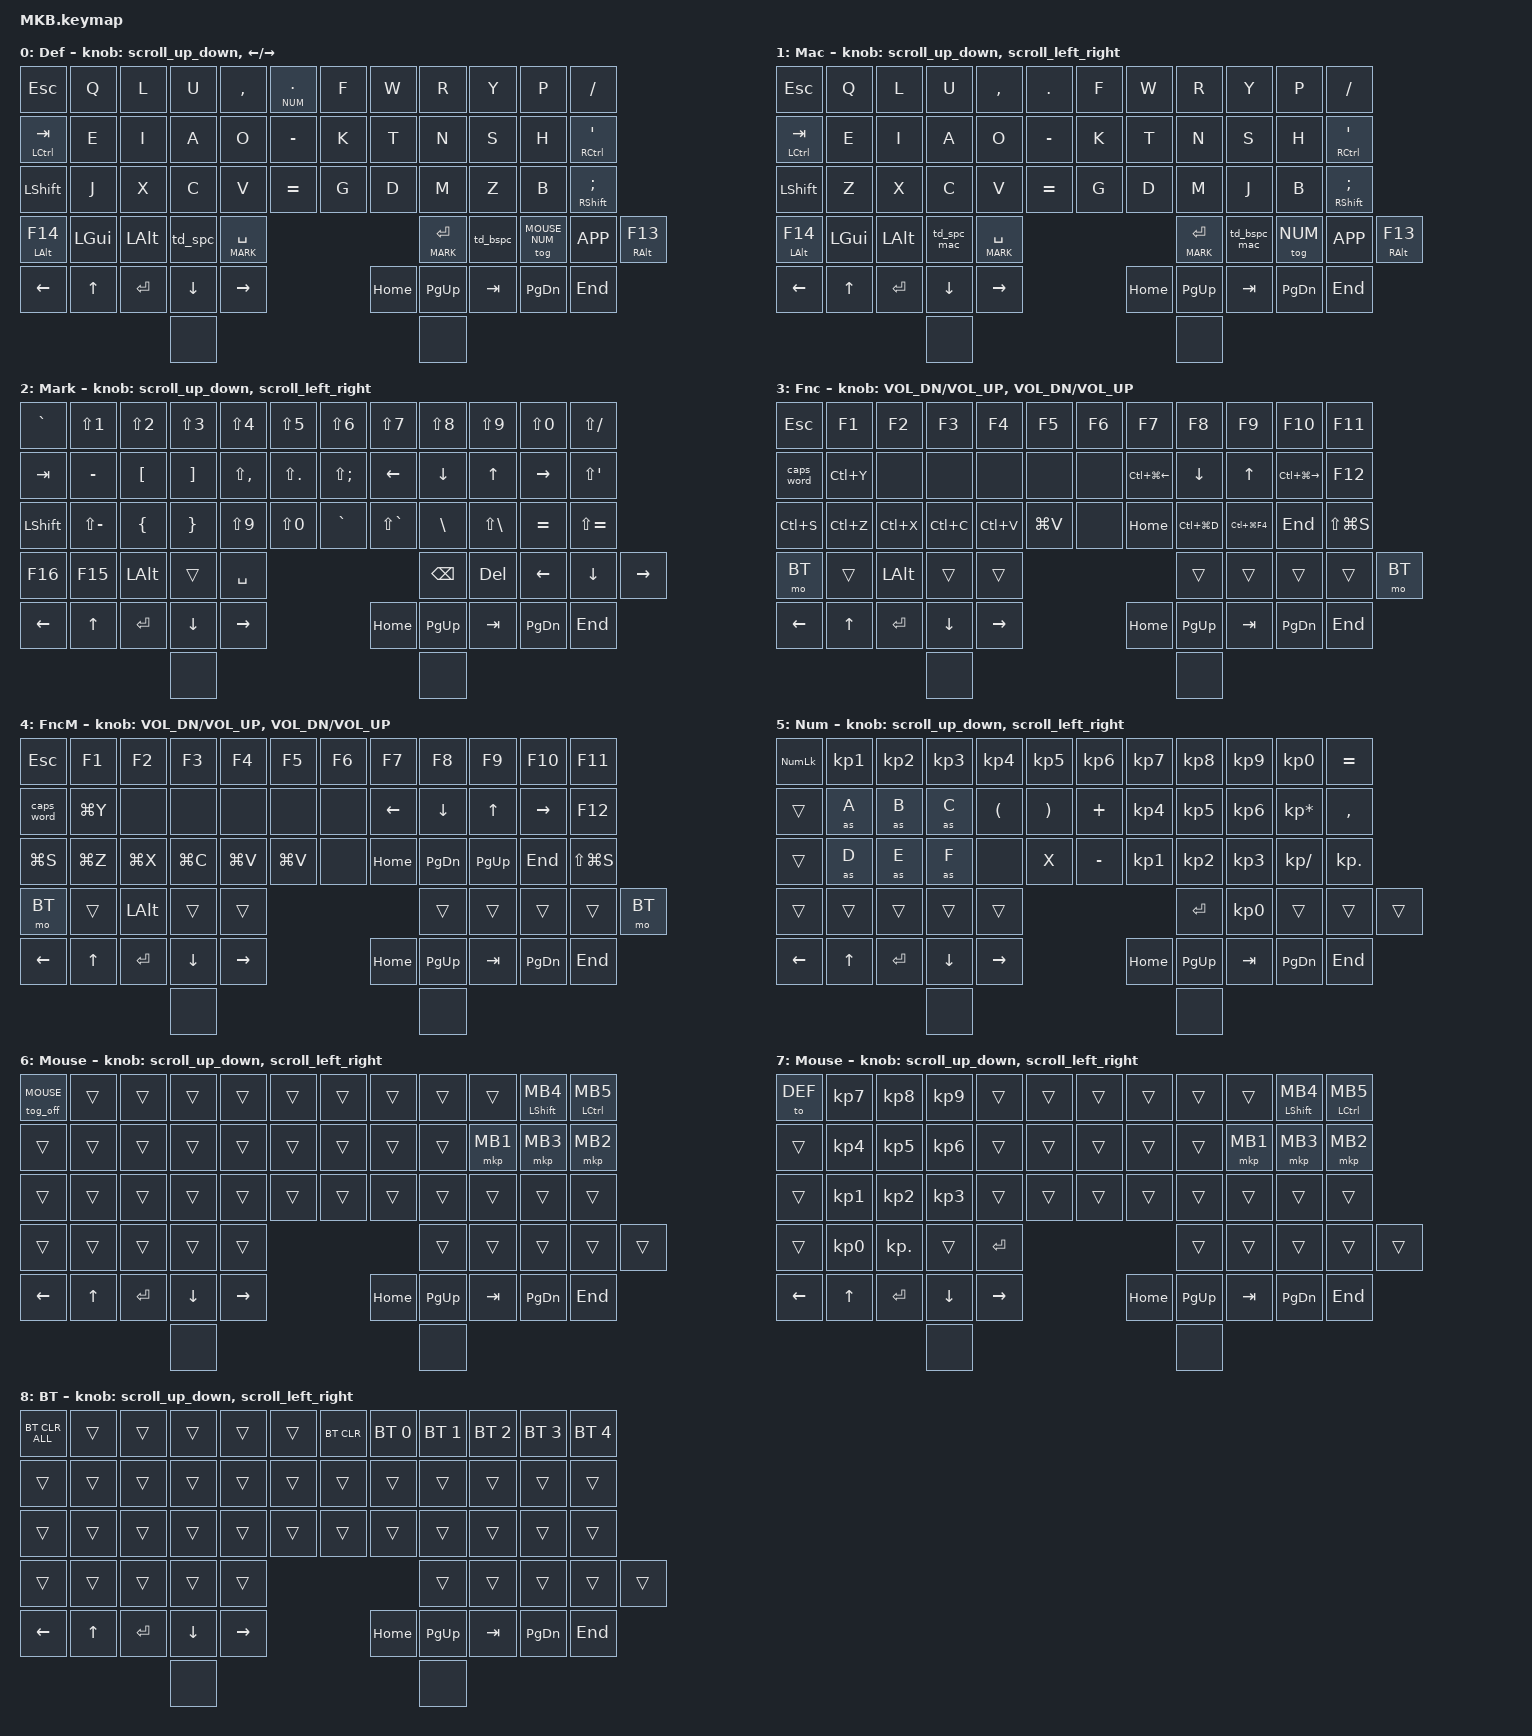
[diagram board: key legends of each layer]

#include <behaviors.dtsi>
#include <dt-bindings/zmk/bt.h>
#include <dt-bindings/zmk/keys.h>
#include <dt-bindings/zmk/pointing.h>
#include <input/processors.dtsi>
#include <dt-bindings/zmk/input_transform.h>
#include <zephyr/dt-bindings/input/input-event-codes.h>

#define DEF 0
#define MAC 1
#define MARK 2
#define FUNC 3
#define MACFUNC 4
#define NUM 5
#define MOUSE 6
#define MOUSE_NUM 7
#define BT 8
#define ZMK_POINTING_DEFAULT_SCRL_VAL 80

// AML発動までの移動量定義
/ {
    zip_aml_threshold: zip_aml_threshold {
        compatible = "zmk,input-processor-zip-aml-threshold";
        #input-processor-cells = <0>;
        min-movement = <800>;
        threshold-bypass-ms = <3000>;
        threshold-bypass-layers = <MOUSE>;
    };
};

&zip_temp_layer {
    excluded-positions = <
        0  // ESC
        9  // F(Prev)
        10 // W(Next)
        21 // S(左クリック)
        22 // H(中クリック)
        23 // "(右クリック)
        24 // Shift
    >;

    require-prior-idle-ms = <300>;
};

&mt {
    flavor = "balanced";
    quick-tap-ms = <0>;
};

&lt {
    flavor = "balanced";
    tapping-term-ms = <300>;
    quick-tap-ms = <150>;
    hold-trigger-on-release;
};

&trackball_right_listener { 
    mouse_only {
        layers = <MOUSE>, <MOUSE_NUM>;
        input-processors = <&zip_inertia>;
    };
    input-processors = <&zip_aml_threshold>, <&zip_temp_layer MOUSE 5000>, <&zip_inertia>;
};

&trackball_scroller {
    layers = <MARK>;
    input-processors =
        <&zip_xy_scaler 1 16 &zip_xy_to_scroll_mapper>,
        <&zip_scroll_transform (INPUT_TRANSFORM_Y_INVERT)>, <&zip_inertia>;
};

&trackball_left_listener {
  input-processors = <&zip_xy_transform INPUT_TRANSFORM_X_INVERT>,
                      <&zip_xy_scaler 1 2>, <&zip_xy_to_scroll_mapper>, 
                      <&zip_scroll_x_scaler 0 1>, <&zip_inertia>;
  scroller {
        layers = <MARK>;
        input-processors = <
            &zip_xy_to_scroll_mapper
            &zip_scroll_y_scaler 0 1
            &zip_xy_scaler 1 16
        >, <&zip_inertia>;
    };
};

// マウスキー入力のXXXms後にマウスレイヤーを抜ける
&mkp_input_listener {
  input-processors = <&zip_temp_layer MOUSE 5000>;
};

/**************************************************************************/

/ {
    combos {
        compatible = "zmk,combos";

        combo_tab {
            bindings = <&kp TAB>;
            key-positions = <12 13>;
        };

        mo_scroll {
            bindings = <&mo MARK>;
            key-positions = <11 23>;
        };

        mo_mouse {
            bindings = <&mo MOUSE>;
            key-positions = <16 15>;
        };

        alt_space {
            bindings = <&kp LA(SPACE)>;
            key-positions = <40 41>;
        };

        combo_capslock {
            bindings = <&kp CAPS>;
            key-positions = <12 13 14>;
        };

        toggle_IME {
            bindings = <&kp LC(SPACE)>;
            key-positions = <36 45>;
        };

        LWin {
            bindings = <&kp LEFT_GUI>;
            key-positions = <24 36>;
        };

        Mo_Num {
            bindings = <&mo NUM>;
            key-positions = <39 40>;
        };

        tog_mac {
            bindings = <&tog MAC>;
            key-positions = <0 11>;
        };

        ctrl_space {
            bindings = <&kp LC(SPACE)>;
            key-positions = <39 42>;
        };
    };

    /**************************************************************************/

    macros {
        // for Auto Shift

        shifted: macro_shifted_kp {
            #binding-cells = <1>;
            label = "MACRO_SHIFTED_KP";
            compatible = "zmk,behavior-macro-one-param";
            bindings =
                <&macro_press>,
                <&kp LSHFT &macro_param_1to1>,
                <&macro_tap>,
                <&kp MACRO_PLACEHOLDER>,
                <&macro_release>,
                <&kp LSHFT>;
        };

        as: autoshift {
            compatible = "zmk,behavior-macro-one-param";
            #binding-cells = <1>;
            label = "AUTOSHIFT_KP";
            bindings =
                <&macro_press>,
                <&macro_param_1to1 &macro_param_1to2 &as_ht MACRO_PLACEHOLDER MACRO_PLACEHOLDER>,
                <&macro_pause_for_release>,
                <&macro_release>,
                <&macro_param_1to1 &macro_param_1to2 &as_ht MACRO_PLACEHOLDER MACRO_PLACEHOLDER>;
        };
    };

    /**************************************************************************/

    behaviors {
        td_bspc: tap_dance_0 {
            compatible = "zmk,behavior-tap-dance";
            #binding-cells = <0>;
            tapping-term-ms = <200>;
            bindings = <&lt FUNC BSPC>, <&kp BSPC>;
        };

        td_spc: tap_dance_1 {
            compatible = "zmk,behavior-tap-dance";
            #binding-cells = <0>;
            tapping-term-ms = <200>;
            bindings = <&lt FUNC SPACE>, <&kp SPACE>;
        };

        td_bspc_mac: tap_dance_2 {
            compatible = "zmk,behavior-tap-dance";
            #binding-cells = <0>;
            tapping-term-ms = <200>;
            bindings = <&lt MACFUNC BSPC>, <&kp BSPC>;
        };

        td_spc_mac: tap_dance_3 {
            compatible = "zmk,behavior-tap-dance";
            #binding-cells = <0>;
            tapping-term-ms = <200>;
            bindings = <&lt MACFUNC SPACE>, <&kp SPACE>;
        };

        mouse_scroll: mouse_wheel_scroll {
            compatible = "zmk,behavior-sensor-rotate-var";
            #sensor-binding-cells = <2>;
            bindings = <&msc>, <&msc>;

            tap-ms = <25>;
        };

        mod_mkp: mod_mkp {
            compatible = "zmk,behavior-hold-tap";
            label = "MOD_MKP";
            bindings = <&kp>, <&mkp>;

            #binding-cells = <2>;
            tapping-term-ms = <150>;
        };

        as_ht: autoshift_hold_tap {
            compatible = "zmk,behavior-hold-tap";
            label = "AUTOSHIFT_HOLD_TAP";
            #binding-cells = <2>;
            tapping_term_ms = <180>;
            quick_tap_ms = <0>;
            flavor = "tap-preferred";
            bindings = <&shifted>, <&kp>;
        };

        tog_off: toggle_layer_off {
            compatible = "zmk,behavior-toggle-layer";
            #binding-cells = <1>;
            display-name = "Toggle Layer Off";
            toggle-mode = "off";
        };

        ime_alt: ime_alt {
            compatible = "zmk,behavior-hold-tap";
            label = "IME_ALT";
            bindings = <&kp>, <&kp>;

            #binding-cells = <2>;
            tapping-term-ms = <200>;
            flavor = "tap-preferred";
        };

        tog_on: tog_layer_on {
            compatible = "zmk,behavior-toggle-layer";
            #binding-cells = <1>;
            display-name = "Toggle Layer Off";
            toggle-mode = "on";
            label = "TOG_ON";
        };

        scroll_up_down: mouse_wheel_up_down {
            compatible = "zmk,behavior-sensor-rotate";
            #sensor-binding-cells = <0>;
            bindings = <&msc SCRL_UP>, <&msc SCRL_DOWN>;

            tap-ms = <20>;
        };

        scroll_left_right: mouse_wheel_right_left {
            compatible = "zmk,behavior-sensor-rotate";
            #sensor-binding-cells = <0>;
            bindings = <&msc SCRL_LEFT>, <&msc SCRL_RIGHT>;

            tap-ms = <20>;
        };
    };

    /**************************************************************************/

    keymap {
        compatible = "zmk,keymap";

        default_layer {
            label = "Def";
            bindings = <
&kp ESC            &kp Q     &kp L      &kp U     &kp COMMA  &lt NUM PERIOD      &kp F         &kp W     &kp R      &kp Y      &kp P      &kp SLASH
&mt LCTRL TAB      &kp E     &kp I      &kp A     &kp O      &kp MINUS           &kp K         &kp T     &kp N      &kp S      &kp H      &mt RCTRL SQT
&kp LSHFT          &kp J     &kp X      &kp C     &kp V      &kp EQUAL           &kp G         &kp D     &kp M      &kp Z      &kp B      &mt RSHFT SEMI
&ime_alt LALT F14  &kp LGUI  &kp LALT             &td_spc    &lt MARK SPACE      &lt MARK RET  &td_bspc             &tog MOUSE_NUM   &kp K_APP  &ime_alt RALT F13
&kp LEFT           &kp UP    &kp RET    &kp DOWN  &kp RIGHT                                    &kp HOME  &kp PG_UP  &kp TAB  &kp PG_DN  &kp END
                                        &none                                                            &none
            >;
            sensor-bindings = <&scroll_up_down  &inc_dec_kp LEFT RIGHT>;
        };

        mac_layer {
            label = "Mac";
            bindings = <
&kp ESC            &kp Q     &kp L      &kp U     &kp COMMA    &kp PERIOD          &kp F         &kp W         &kp R      &kp Y      &kp P      &kp SLASH
&mt LCTRL TAB      &kp E     &kp I      &kp A     &kp O        &kp MINUS           &kp K         &kp T         &kp N      &kp S      &kp H      &mt RCTRL SQT
&kp LSHFT          &kp Z     &kp X      &kp C     &kp V        &kp EQUAL           &kp G         &kp D         &kp M      &kp J      &kp B      &mt RSHFT SEMI
&ime_alt LALT F14  &kp LGUI  &kp LALT             &td_spc_mac  &lt MARK SPACE      &lt MARK RET  &td_bspc_mac             &tog NUM   &kp K_APP  &ime_alt RALT F13
&kp LEFT           &kp UP    &kp RET    &kp DOWN  &kp RIGHT                                      &kp HOME      &kp PG_UP  &kp TAB  &kp PG_DN  &kp END
                                        &none                                                                  &none
            >;
            sensor-bindings = <&scroll_up_down &scroll_left_right>;
        };

        mark_layer {
            label = "Mark";
            bindings = <
&kp GRAVE  &kp LS(N1)     &kp LS(N2)  &kp LS(N3)  &kp LS(N4)     &kp LS(N5)          &kp LS(N6)     &kp LS(N7)     &kp LS(N8)  &kp LS(N9)    &kp LS(N0)  &kp LS(SLASH)
&kp TAB    &kp MINUS      &kp LBKT    &kp RBKT    &kp LS(COMMA)  &kp LS(PERIOD)      &kp LS(SEMI)   &kp LEFT       &kp DOWN    &kp UP        &kp RIGHT   &kp LS(SQT)
&kp LSHFT  &kp LS(MINUS)  &kp LBRC    &kp RBRC    &kp LS(N9)     &kp LS(N0)          &kp GRAVE      &kp LS(GRAVE)  &kp BSLH    &kp LS(BSLH)  &kp EQUAL   &kp LS(EQUAL)
&kp F16    &kp F15        &kp LALT                &trans         &kp SPACE           &kp BACKSPACE  &kp DEL                 &kp LEFT      &kp DOWN    &kp RIGHT
&kp LEFT   &kp UP         &kp RET     &kp DOWN    &kp RIGHT                                         &kp HOME    &kp PG_UP   &kp TAB     &kp PG_DN   &kp END
                                      &none                                                                     &none
            >;
             sensor-bindings = <&scroll_up_down &scroll_left_right>;
        };

        function_layer {
            label = "Fnc";
            bindings = <
&kp ESC     &kp F1     &kp F2     &kp F3     &kp F4     &kp F5         &kp F6  &kp F7            &kp F8         &kp F9          &kp F10            &kp F11
&caps_word  &kp LC(Y)  &none      &none      &none      &none          &none   &kp LC(LG(LEFT))  &kp DOWN       &kp UP          &kp LC(LG(RIGHT))  &kp F12
&kp LC(S)   &kp LC(Z)  &kp LC(X)  &kp LC(C)  &kp LC(V)  &kp LG(V)      &none   &kp HOME          &kp LC(LG(D))  &kp LC(LG(F4))  &kp END            &kp LS(LG(S))
&mo BT      &trans     &kp LALT              &trans     &trans         &trans  &trans               &trans     &trans     &mo BT
&kp LEFT    &kp UP     &kp RET  &kp DOWN   &kp RIGHT                           &kp HOME  &kp PG_UP  &kp TAB  &kp PG_DN  &kp END
                                  &none                                                  &none
            >;
            sensor-bindings = <&inc_dec_kp C_VOL_DN C_VOL_UP &inc_dec_kp C_VOL_DN C_VOL_UP>;
        };

        macfunction_layer {
            label = "FncM";
            bindings = <
&kp ESC     &kp F1     &kp F2     &kp F3     &kp F4     &kp F5         &kp F6  &kp F7    &kp F8     &kp F9     &kp F10    &kp F11
&caps_word  &kp LG(Y)  &none      &none      &none      &none          &none   &kp LEFT  &kp DOWN   &kp UP     &kp RIGHT  &kp F12
&kp LG(S)   &kp LG(Z)  &kp LG(X)  &kp LG(C)  &kp LG(V)  &kp LG(V)      &none   &kp HOME  &kp PG_DN  &kp PG_UP  &kp END    &kp LS(LG(S))
&mo BT      &trans     &kp LALT              &trans     &trans         &trans  &trans               &trans     &trans     &mo BT
&kp LEFT    &kp UP     &kp RET  &kp DOWN   &kp RIGHT                         &kp HOME  &kp PG_UP  &kp TAB  &kp PG_DN  &kp END
                                  &none                                                  &none
            >;
            sensor-bindings = <&inc_dec_kp C_VOL_DN C_VOL_UP &inc_dec_kp C_VOL_DN C_VOL_UP>;
        };

        num_layer {
            label = "Num";
            bindings = <
&kp KP_NUM  &kp KP_N1  &kp KP_N2  &kp KP_N3  &kp KP_N4             &kp KP_N5                  &kp KP_N6  &kp KP_N7  &kp KP_N8  &kp KP_N9  &kp KP_N0        &kp EQUAL
&trans      &as A      &as B      &as C      &kp LEFT_PARENTHESIS  &kp RIGHT_PARENTHESIS      &kp PLUS   &kp KP_N4  &kp KP_N5  &kp KP_N6  &kp KP_ASTERISK  &kp COMMA
&trans      &as D      &as E      &as F      &none                 &kp X                      &kp MINUS  &kp KP_N1  &kp KP_N2  &kp KP_N3  &kp KP_SLASH     &kp KP_DOT
&trans      &trans     &trans                &trans                &trans                     &kp ENTER  &kp KP_N0             &trans     &trans           &trans
&kp LEFT    &kp UP     &kp RET    &kp DOWN   &kp RIGHT                                                   &kp HOME   &kp PG_UP  &kp TAB  &kp PG_DN        &kp END
                                  &none                                                                             &none
            >;
            sensor-bindings = <&scroll_up_down &scroll_left_right>;
        };

        mouse_layer {
            label = "Mouse";
            bindings = <
&tog_off MOUSE  &trans  &trans     &trans    &trans     &trans              &trans     &trans    &trans     &trans     &mod_mkp LEFT_SHIFT MB4  &mod_mkp LEFT_CONTROL MB5
&trans          &trans  &trans     &trans    &trans     &trans              &trans     &trans    &trans     &mkp MB1   &mkp MB3                 &mkp MB2
&trans          &trans  &trans     &trans    &trans     &trans              &trans     &trans    &trans     &trans     &trans                   &trans
&trans          &trans  &trans               &trans     &trans              &trans     &trans               &trans     &trans                   &trans
&kp LEFT        &kp UP  &kp RET    &kp DOWN  &kp RIGHT                      &kp HOME  &kp PG_UP  &kp TAB  &kp PG_DN    &kp END
                                   &none                                                              &none
            >;
            sensor-bindings = <&scroll_up_down &scroll_left_right>;
        };

        mouse_num_layer {
            label = "Mouse";
            bindings = <
&to DEF   &kp KP_N7  &kp KP_N8  &kp KP_N9  &trans  &trans              &trans   &trans    &trans     &trans     &mod_mkp LEFT_SHIFT MB4  &mod_mkp LEFT_CONTROL MB5
&trans    &kp KP_N4  &kp KP_N5  &kp KP_N6  &trans  &trans              &trans   &trans    &trans     &mkp MB1   &mkp MB3                 &mkp MB2
&trans    &kp KP_N1  &kp KP_N2  &kp KP_N3  &trans  &trans              &trans   &trans    &trans     &trans     &trans                   &trans
&trans    &kp KP_N0  &kp KP_DOT            &trans   &kp RET             &trans   &trans               &trans     &trans                   &trans
&kp LEFT   &kp UP  &kp RET    &kp DOWN  &kp RIGHT                                      &kp HOME  &kp PG_UP  &kp TAB  &kp PG_DN  &kp END
                                   &none                                                              &none
            >;
            sensor-bindings = <&scroll_up_down &scroll_left_right>;
        };

        bt_layer {
            label = "BT";
            bindings = <
&bt BT_CLR_ALL  &trans    &trans     &trans     &trans     &trans         &bt BT_CLR  &bt BT_SEL 0  &bt BT_SEL 1  &bt BT_SEL 2  &bt BT_SEL 3  &bt BT_SEL 4 
&trans          &trans    &trans     &trans     &trans     &trans         &trans      &trans        &trans        &trans        &trans        &trans
&trans          &trans    &trans     &trans     &trans     &trans         &trans      &trans        &trans        &trans        &trans        &trans
&trans          &trans    &trans                &trans     &trans         &trans      &trans        &trans        &trans        &trans
&kp LEFT    &kp UP        &kp RET       &kp DOWN      &kp RIGHT                                       &kp HOME  &kp PG_UP  &kp TAB  &kp PG_DN  &kp END
                                        &none                                                                   &none
            >;
            sensor-bindings = <&scroll_up_down &scroll_left_right>;
        };
    };
};
